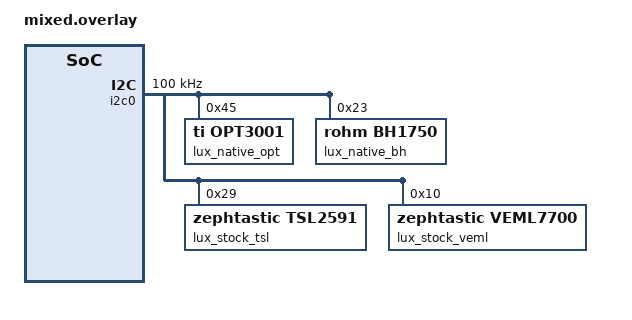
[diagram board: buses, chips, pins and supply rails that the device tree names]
/* Native OPT3001 and BH1750 with dedicated TSL2591 and VEML7700. */
/ {
    aliases {
        zt-environment = &lux_native_opt;
        zt-environment-2 = &lux_native_bh;
        zt-tsl2591 = &lux_stock_tsl;
        zt-veml7700 = &lux_stock_veml;
    };
};
&i2c0 {
    status = "okay";
    clock-frequency = <100000>;
    lux_native_opt: light@45 { compatible = "ti,opt3001"; reg = <0x45>; };
    lux_native_bh: light@23 { compatible = "rohm,bh1750"; reg = <0x23>; resolution = <1>; mtreg = <69>; };
    lux_stock_tsl: light@29 { compatible = "zephtastic,tsl2591"; reg = <0x29>; };
    lux_stock_veml: light@10 { compatible = "zephtastic,veml7700"; reg = <0x10>; };
};
